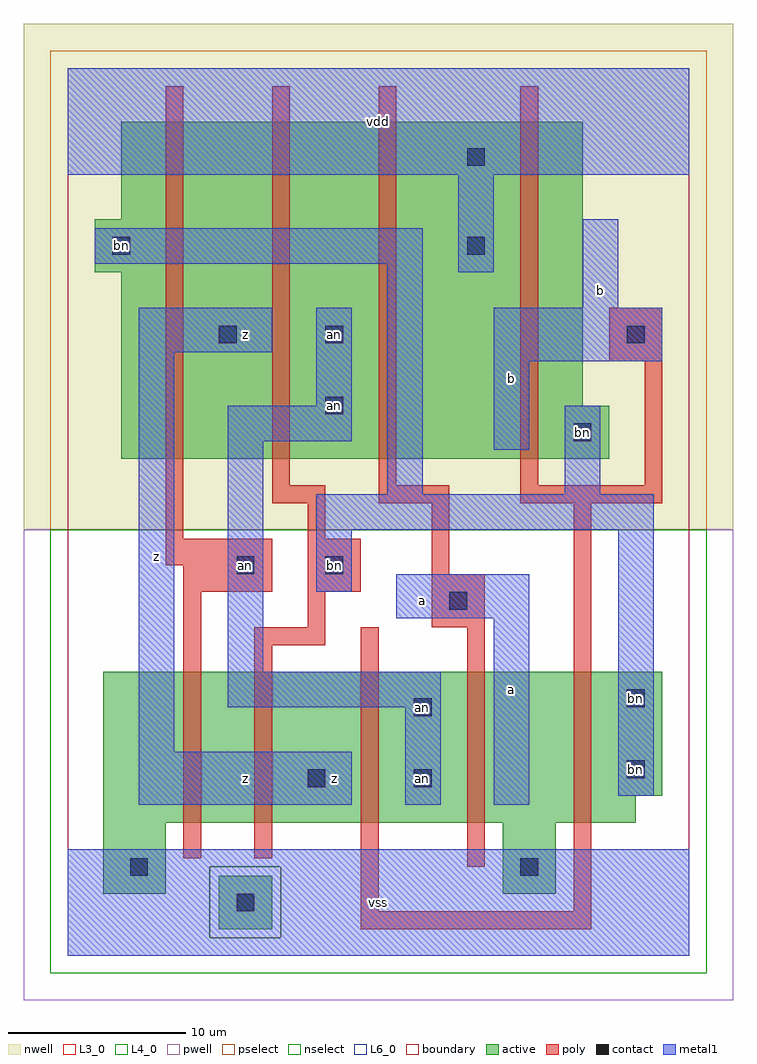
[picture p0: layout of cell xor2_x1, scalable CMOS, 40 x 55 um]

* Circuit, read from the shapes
.subckt xor2_x1 a an b bn vdd vss z
M1 n1 an vss vss nfet w=8.5u l=1u
M2 z bn n1 vss nfet w=8.5u l=1u
M3 an b z vss nfet w=8.5u l=1u
M4 vss a an vss nfet w=8.5u l=1u
M5 bn b vss vss nfet w=8.5u l=1u
M6 z an bn n2 pfet w=19u l=1u
M7 an bn z n2 pfet w=19u l=1u
M8 vdd a an n2 pfet w=19u l=1u
M9 bn b vdd n2 pfet w=19u l=1u
.ends

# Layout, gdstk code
import gdstk
lib = gdstk.Library(unit=1e-6, precision=1e-09)
def R(c, l, rs):  # rectangles x0, y0, x1, y1
    for r in rs: c.add(gdstk.rectangle(r[:2], r[2:], *l))
L3_0 = (3, 0)
L4_0 = (4, 0)
L6_0 = (6, 0)
contact = (25, 0)
pwell = (41, 0)
nwell = (42, 0)
active = (43, 0)
pselect = (44, 0)
nselect = (45, 0)
poly = (46, 0)
metal1 = (49, 0)
boundary = (63, 0)

xor2_x1 = lib.new_cell('xor2_x1')
R(xor2_x1, L3_0, [(2,3.5,5.5,7.5), (24.5,3.5,27.5,7.5), (2,7.5,32,9), (2,9,33.5,16)])
R(xor2_x1, L4_0, [(3,28,30.5,31), (3,31,29,38.5), (1.5,38.5,29,41.5), (3,41.5,29,47)])
R(xor2_x1, L6_0, [(8.5,1.5,11.5,4.5)])
R(xor2_x1, contact, [(9.5,2.5,10.5,3.5), (3.5,4.5,4.5,5.5), (25.5,4.5,26.5,5.5), (13.5,9.5,14.5,10.5), (19.5,9.5,20.5,10.5), (31.5,10,32.5,11), (19.5,13.5,20.5,14.5), (31.5,14,32.5,15), (21.5,19.5,22.5,20.5), (9.5,21.5,10.5,22.5), (14.5,21.5,15.5,22.5), (28.5,29,29.5,30), (14.5,30.5,15.5,31.5), (8.5,34.5,9.5,35.5), (14.5,34.5,15.5,35.5), (31.5,34.5,32.5,35.5), (2.5,39.5,3.5,40.5), (22.5,39.5,23.5,40.5), (22.5,44.5,23.5,45.5)])
R(xor2_x1, pwell, [(-2.5,-2.5,37.5,24)])
R(xor2_x1, nwell, [(-2.5,24,37.5,52.5)])
R(xor2_x1, active, [(8.5,1.5,11.5,4.5), (2,3.5,5.5,7.5), (24.5,3.5,27.5,7.5), (2,7.5,32,9), (2,9,33.5,16), (3,28,30.5,31), (3,31,29,38.5), (1.5,38.5,29,41.5), (3,41.5,29,47)])
R(xor2_x1, pselect, [(8,1,12,5), (-1,24,36,51)])
R(xor2_x1, nselect, [(-1,-1,36,1), (-1,1,8,5), (12,1,36,5), (-1,5,36,24)])
R(xor2_x1, poly, [(16.5,1.5,29.5,2.5), (16.5,2.5,17.5,18.5), (28.5,2.5,29.5,25.5), (22.5,5,23.5,18.5), (6.5,5.5,7.5,20.5), (10.5,5.5,11.5,17.5), (10.5,17.5,14.5,18.5), (13.5,18.5,14.5,20.5), (20.5,18.5,23.5,21.5), (6.5,20.5,11.5,22), (13.5,20.5,16.5,23.5), (20.5,21.5,21.5,25.5), (5.5,22,11.5,23.5), (5.5,23.5,6.5,49), (13.5,23.5,14.5,25.5), (11.5,25.5,14.5,26.5), (17.5,25.5,21.5,26.5), (25.5,25.5,33.5,26.5), (11.5,26.5,12.5,49), (17.5,26.5,18.5,49), (25.5,26.5,26.5,49), (32.5,26.5,33.5,33.5), (30.5,33.5,33.5,36.5)])
R(xor2_x1, metal1, [(0,0,35,6), (0,0,35,6), (4,8.5,16,11.5), (4,8.5,16,11.5), (19,8.5,21,14), (19,8.5,21,14), (24,8.5,26,19), (24,8.5,26,19), (31,9,33,24), (31,9,33,24), (4,11.5,6,34), (4,11.5,6,34), (9,14,21,16), (9,14,21,16), (9,16,11,29), (9,16,11,29), (18.5,19,26,21.5), (18.5,19,26,21.5), (14,20.5,16,24), (14,20.5,16,24), (14,24,33,26), (14,24,33,26), (18,26,20,39), (18,26,20,39), (28,26,30,31), (28,26,30,31), (24,28.5,26,33.5), (24,28.5,26,33.5), (9,29,16,31), (9,29,16,31), (14,31,16,36.5), (14,31,16,36.5), (24,33.5,33.5,36.5), (24,33.5,33.5,36.5), (4,34,11.5,36.5), (4,34,11.5,36.5), (29,36.5,31,41.5), (29,36.5,31,41.5), (22,38.5,24,44), (22,38.5,24,44), (1.5,39,20,41), (1.5,39,20,41), (0,44,35,50), (0,44,35,50)])
R(xor2_x1, boundary, [(0,0,35,50)])
xor2_x1.add(gdstk.Label('an', (10,22), layer=49, texttype=0))
xor2_x1.add(gdstk.Label('bn', (3,40), layer=49, texttype=0))
xor2_x1.add(gdstk.Label('an', (20,10), layer=49, texttype=0))
xor2_x1.add(gdstk.Label('an', (20,14), layer=49, texttype=0))
xor2_x1.add(gdstk.Label('bn', (15,22), layer=49, texttype=0))
xor2_x1.add(gdstk.Label('an', (15,31), layer=49, texttype=0))
xor2_x1.add(gdstk.Label('an', (15,35), layer=49, texttype=0))
xor2_x1.add(gdstk.Label('bn', (32,14.5), layer=49, texttype=0))
xor2_x1.add(gdstk.Label('bn', (32,10.5), layer=49, texttype=0))
xor2_x1.add(gdstk.Label('bn', (29,29.5), layer=49, texttype=0))
xor2_x1.add(gdstk.Label('z', (5,22.5), layer=49, texttype=0))
xor2_x1.add(gdstk.Label('z', (10,10), layer=49, texttype=0))
xor2_x1.add(gdstk.Label('z', (15,10), layer=49, texttype=0))
xor2_x1.add(gdstk.Label('z', (10,35), layer=49, texttype=0))
xor2_x1.add(gdstk.Label('vss', (17.5,3), layer=49, texttype=0))
xor2_x1.add(gdstk.Label('a', (25,15), layer=49, texttype=0))
xor2_x1.add(gdstk.Label('a', (20,20), layer=49, texttype=0))
xor2_x1.add(gdstk.Label('b', (25,32.5), layer=49, texttype=0))
xor2_x1.add(gdstk.Label('vdd', (17.5,47), layer=49, texttype=0))
xor2_x1.add(gdstk.Label('b', (30,37.5), layer=49, texttype=0))

lib.write_gds('xor2_x1.gds')
